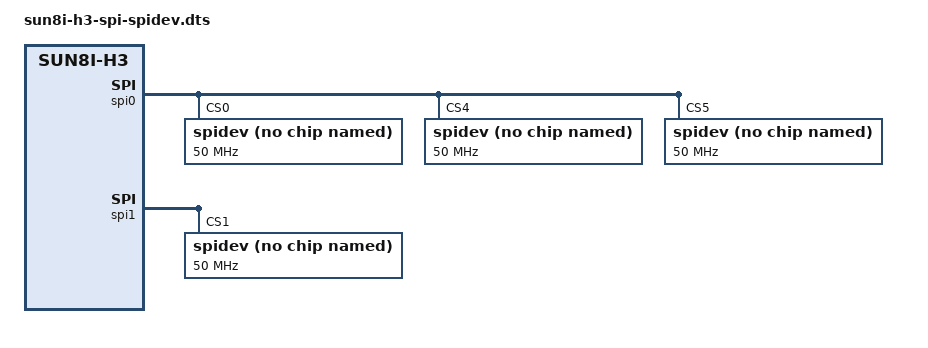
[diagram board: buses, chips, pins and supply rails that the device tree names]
/dts-v1/ /plugin/;

/ {
	compatible = "allwinner,sun8i-h3";

	fragment@0 {
		target-path = "/aliases";
		__overlay__ {
			spi0 = "/soc/spi@01c68000";
			spi1 = "/soc/spi@01c69000";
		};
	};

	fragment@1 {
		target = <&spi0>;
		__overlay__ {
			#address-cells = <1>;
			#size-cells = <0>;
			status = "okay";

			spidev@0 {
				compatible = "spidev";
				reg = <0>;
				spi-max-frequency = <50000000>;
			};

			spidev@4 {
				compatible = "spidev";
				reg = <4>;
				spi-max-frequency = <50000000>;
			};
			
			spidev@5 {
				compatible = "spidev";
				reg = <5>;
				spi-max-frequency = <50000000>;
			};
		};
	};

	fragment@2 {
		target = <&spi1>;
		__overlay__ {
			#address-cells = <1>;
			#size-cells = <0>;
			status = "okay";

			spidev@1 {
				compatible = "spidev";
				reg = <1>;
				spi-max-frequency = <50000000>;
			};
		};
	};
};
